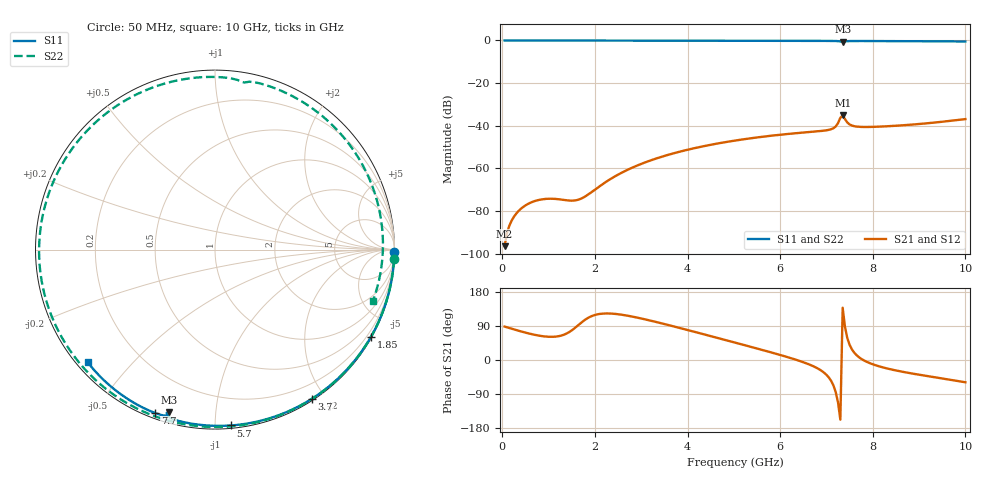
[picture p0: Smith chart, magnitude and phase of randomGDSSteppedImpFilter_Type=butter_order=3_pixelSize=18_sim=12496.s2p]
! freq	dB(S11)	phase(S11)	dB(S12)	phase(S12)
!  dB(S21)	phase(S21)	dB(S22)	phase(S22)
!S-par simulation data
#  GHz  S  DB  R 50
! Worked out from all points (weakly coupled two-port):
!   200 points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, 50 MHz to 10 GHz, reference 50 ohm
!   highest |S21| = -35.16 dB at 7.35 GHz (marker M1); lowest = -96.4 dB at 50 MHz (marker M2)
!   lowest |S11| = -0.5 dB at 7.35 GHz (marker M3), VSWR 32.35, Z = 2.43 - j37.8 ohm
!   |S11| at or under -10 dB: nowhere
!   |S22| runs from -0.7 to 0.0 dB; largest |S21 - S12| = 0
!   S11 on the Smith chart (normalised r, x): 50 MHz: open; 1.85 GHz: 0.03, -3.84; 3.7 GHz: 0.02, -1.84; 5.7 GHz: 0.02, -1.09; 7.7 GHz: 0.02, -0.70; 10 GHz: 0.03, -0.38
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0.05  -0.00 -0.8  -96.43 88.2  -96.43 88.2  -0.00 -3.0
0.35  -0.01 -5.6  -79.96 77.3  -79.96 77.3  -0.03 -20.7
0.6  -0.01 -9.6  -76.14 69.2  -76.14 69.2  -0.05 -35.2
0.95  -0.02 -15.1  -74.24 61.7  -74.24 61.7  -0.07 -54.6
1.5  -0.03 -23.8  -75.09 78.2  -75.09 78.2  -0.09 -82.5
1.75  -0.04 -27.6  -73.63 102.9  -73.63 102.9  -0.10 -94.2
1.85  -0.04 -29.2  -72.28 111.0  -72.28 111.0  -0.11 -98.6
2.65  -0.05 -41.4  -61.21 118.1  -61.21 118.1  -0.13 -131.0
3.4  -0.07 -52.6  -54.80 98.0  -54.80 98.0  -0.15 -157.1
3.7  -0.08 -56.9  -52.89 88.7  -52.89 88.7  -0.16 -166.8
4.35  -0.09 -66.3  -49.55 67.9  -49.55 67.9  -0.18 173.0
5.05  -0.12 -76.0  -46.84 45.2  -46.84 45.2  -0.21 152.0
5.7  -0.14 -84.8  -44.92 23.6  -44.92 23.6  -0.25 132.4
6.7  -0.19 -98.0  -42.79 -15.5  -42.79 -15.5  -0.31 101.0
7.15  -0.24 -104.2  -41.15 -67.0  -41.15 -67.0  -0.36 86.0
7.35  -0.54 -105.7  -35.16 138.0  -35.16 138.0  -0.49 80.0
7.5  -0.29 -107.3  -39.37 39.9  -39.37 39.9  -0.36 74.7
7.7  -0.27 -110.1  -40.47 7.5  -40.47 7.5  -0.37 67.6
8.35  -0.31 -118.4  -40.17 -23.6  -40.17 -23.6  -0.42 44.1
9.2  -0.38 -128.7  -38.77 -42.8  -38.77 -42.8  -0.53 12.4
9.6  -0.42 -133.6  -37.87 -50.7  -37.87 -50.7  -0.59 -2.8
10  -0.47 -138.4  -36.85 -58.8  -36.85 -58.8  -0.68 -17.9
